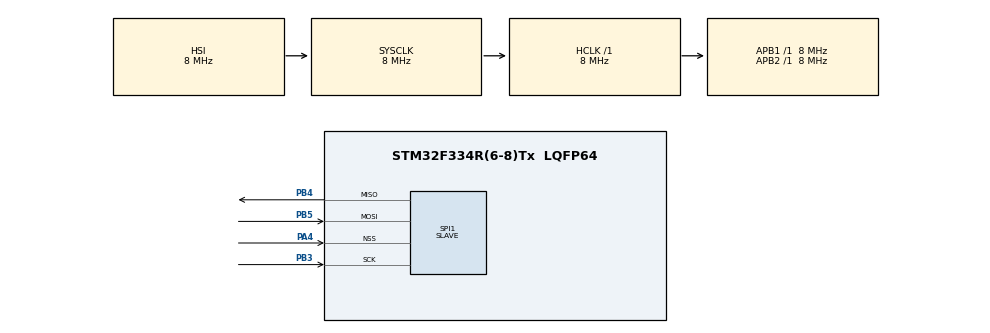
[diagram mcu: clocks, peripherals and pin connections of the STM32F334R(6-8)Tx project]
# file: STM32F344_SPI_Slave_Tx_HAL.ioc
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Mcu.Family=STM32F3
Mcu.Name=STM32F334R(6-8)Tx
Mcu.Package=LQFP64
NVIC.PriorityGroup=NVIC_PRIORITYGROUP_4
PA13.Mode=Serial_Wire
PA13.Signal=SYS_JTMS-SWDIO
PA14.Mode=Serial_Wire
PA14.Signal=SYS_JTCK-SWCLK
PA4.Mode=NSS_Signal_Hard_Input
PA4.Signal=SPI1_NSS
PB3.Mode=Full_Duplex_Slave
PB3.Signal=SPI1_SCK
PB4.Mode=Full_Duplex_Slave
PB4.Signal=SPI1_MISO
PB5.Mode=Full_Duplex_Slave
PB5.Signal=SPI1_MOSI
ProjectManager.HeapSize=0x200
ProjectManager.StackSize=0x400
ProjectManager.TargetToolchain=STM32CubeIDE
RCC.AHBFreq_Value=8000000
RCC.APB1Freq_Value=8000000
RCC.APB2Freq_Value=8000000
RCC.CortexFreq_Value=8000000
RCC.HSE_VALUE=8000000
RCC.HSI_VALUE=8000000
RCC.LSE_VALUE=32768
RCC.SYSCLKFreq_VALUE=8000000
SPI1.DataSize=SPI_DATASIZE_16BIT
SPI1.Direction=SPI_DIRECTION_2LINES
SPI1.Mode=SPI_MODE_SLAVE
SPI1.VirtualNSS=VM_NSSHARD
SPI1.VirtualType=VM_SLAVE
board=custom

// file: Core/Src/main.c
/* USER CODE BEGIN Header */
/**
  ******************************************************************************
  * @file           : main.c
  * @brief          : Main program body
  ******************************************************************************
  * @attention
  *
  * <h2><center>&copy; Copyright (c) 2021 STMicroelectronics.
  * All rights reserved.</center></h2>
  *
  * This software component is licensed by ST under BSD 3-Clause license,
  * the "License"; You may not use this file except in compliance with the
  * License. You may obtain a copy of the License at:
  *                        opensource.org/licenses/BSD-3-Clause
  *
  ******************************************************************************
  */
/* USER CODE END Header */
#include "main.h"

/* USER CODE BEGIN PTD */
#define READ_REQUEST 0x1234
#define REGISTER_VALUE 0x1122
/* USER CODE END PTD */

SPI_HandleTypeDef hspi1;

void SystemClock_Config(void);
static void MX_GPIO_Init(void);
static void MX_SPI1_Init(void);

/* USER CODE BEGIN 0 */
void SendTestData(uint8_t rg, uint8_t dt);
/* USER CODE END 0 */

int main(void)
{

  /* MCU Configuration--------------------------------------------------------*/

  /* Reset of all peripherals, Initializes the Flash interface and the Systick. */
  HAL_Init();

  /* USER CODE BEGIN Init */
  uint16_t SpiSlaveTransfer16B(uint16_t OutData);
  uint8_t SpiSlaveTransfer8B(uint8_t OutData);
  /* USER CODE END Init */

  /* Configure the system clock */
  SystemClock_Config();

  /* Initialize all configured peripherals */
  MX_GPIO_Init();
  MX_SPI1_Init();
  /* USER CODE BEGIN 2 */

  uint16_t NumberToRead = 0;

  /* USER CODE END 2 */

  /* Infinite loop */
  /* USER CODE BEGIN WHILE */
  while (1)
  {

	  NumberToRead = SpiSlaveTransfer16B(0xFFFF);
	  if(NumberToRead == READ_REQUEST)
	  {
		  SpiSlaveTransfer16B(REGISTER_VALUE);
	  }
	  else
		  SpiSlaveTransfer16B(0xFF);

    /* USER CODE END WHILE */

  }
}

void SystemClock_Config(void)
{
  RCC_OscInitTypeDef RCC_OscInitStruct = {0};
  RCC_ClkInitTypeDef RCC_ClkInitStruct = {0};

  /** Initializes the RCC Oscillators according to the specified parameters
  * in the RCC_OscInitTypeDef structure.
  */
  RCC_OscInitStruct.OscillatorType = RCC_OSCILLATORTYPE_HSI;
  RCC_OscInitStruct.HSIState = RCC_HSI_ON;
  RCC_OscInitStruct.HSICalibrationValue = RCC_HSICALIBRATION_DEFAULT;
  RCC_OscInitStruct.PLL.PLLState = RCC_PLL_NONE;
  if (HAL_RCC_OscConfig(&RCC_OscInitStruct) != HAL_OK)
  {
    Error_Handler();
  }
  /** Initializes the CPU, AHB and APB buses clocks
  */
  RCC_ClkInitStruct.ClockType = RCC_CLOCKTYPE_HCLK|RCC_CLOCKTYPE_SYSCLK
                              |RCC_CLOCKTYPE_PCLK1|RCC_CLOCKTYPE_PCLK2;
  RCC_ClkInitStruct.SYSCLKSource = RCC_SYSCLKSOURCE_HSI;
  RCC_ClkInitStruct.AHBCLKDivider = RCC_SYSCLK_DIV1;
  RCC_ClkInitStruct.APB1CLKDivider = RCC_HCLK_DIV1;
  RCC_ClkInitStruct.APB2CLKDivider = RCC_HCLK_DIV1;

  if (HAL_RCC_ClockConfig(&RCC_ClkInitStruct, FLASH_LATENCY_0) != HAL_OK)
  {
    Error_Handler();
  }
}

static void MX_SPI1_Init(void)
{

  /* SPI1 parameter configuration*/
  hspi1.Instance = SPI1;
  hspi1.Init.Mode = SPI_MODE_SLAVE;
  hspi1.Init.Direction = SPI_DIRECTION_2LINES;
  hspi1.Init.DataSize = SPI_DATASIZE_16BIT;
  hspi1.Init.CLKPolarity = SPI_POLARITY_LOW;
  hspi1.Init.CLKPhase = SPI_PHASE_1EDGE;
  hspi1.Init.NSS = SPI_NSS_HARD_INPUT;
  hspi1.Init.FirstBit = SPI_FIRSTBIT_MSB;
  hspi1.Init.TIMode = SPI_TIMODE_DISABLE;
  hspi1.Init.CRCCalculation = SPI_CRCCALCULATION_DISABLE;
  hspi1.Init.CRCPolynomial = 7;
  hspi1.Init.CRCLength = SPI_CRC_LENGTH_DATASIZE;
  hspi1.Init.NSSPMode = SPI_NSS_PULSE_DISABLE;
  if (HAL_SPI_Init(&hspi1) != HAL_OK)
  {
    Error_Handler();
  }

}

static void MX_GPIO_Init(void)
{

  /* GPIO Ports Clock Enable */
  __HAL_RCC_GPIOA_CLK_ENABLE();
  __HAL_RCC_GPIOB_CLK_ENABLE();

}

/* USER CODE BEGIN 4 */
void SendTestData(uint8_t rg, uint8_t dt) {

	//HAL_GPIO_WritePin(nCS_GPIO_Port, nCS_Pin, GPIO_PIN_RESET);
	*((__IO uint8_t *) &SPI1->DR) = (uint16_t) ((rg << 8) | dt);
	while ((SPI1->SR & SPI_SR_BSY) == SPI_SR_BSY)
		;
	//HAL_GPIO_WritePin(nCS_GPIO_Port, nCS_Pin, GPIO_PIN_SET);
}

uint16_t SpiSlaveTransfer16B(uint16_t OutData) {
	uint16_t Data;
     if((SPI1->SR & SPI_SR_TXE) == 0){} // Очікую спустошення передавального буфера.
    // SPI1->DR = (uint16_t) OutData;
     HAL_SPI_Transmit(&hspi1, &OutData, 1, 100);
     if((SPI1->SR & SPI_SR_RXNE) !=0 ){}
    // Data = SPI1->DR;
     HAL_SPI_Receive(&hspi1, &Data, 1, 100);
     return Data;
}

uint8_t SpiSlaveTransfer8B(uint8_t OutData) {
	uint8_t Data;
     if((SPI1->SR & SPI_SR_TXE) == 0){} // Очікую спустошення передавального буфера.
    // SPI1->DR = (uint16_t) OutData;
     HAL_SPI_Transmit(&hspi1, &OutData, 1, 100);
     if((SPI1->SR & SPI_SR_RXNE) !=0 ){}
    // Data = SPI1->DR;
     HAL_SPI_Receive(&hspi1, &Data, 1, 100);
     return Data;
}
/* USER CODE END 4 */

void Error_Handler(void)
{
  __disable_irq();
  while (1)
  {
  }
}

/************************ (C) COPYRIGHT STMicroelectronics *****END OF FILE****/
